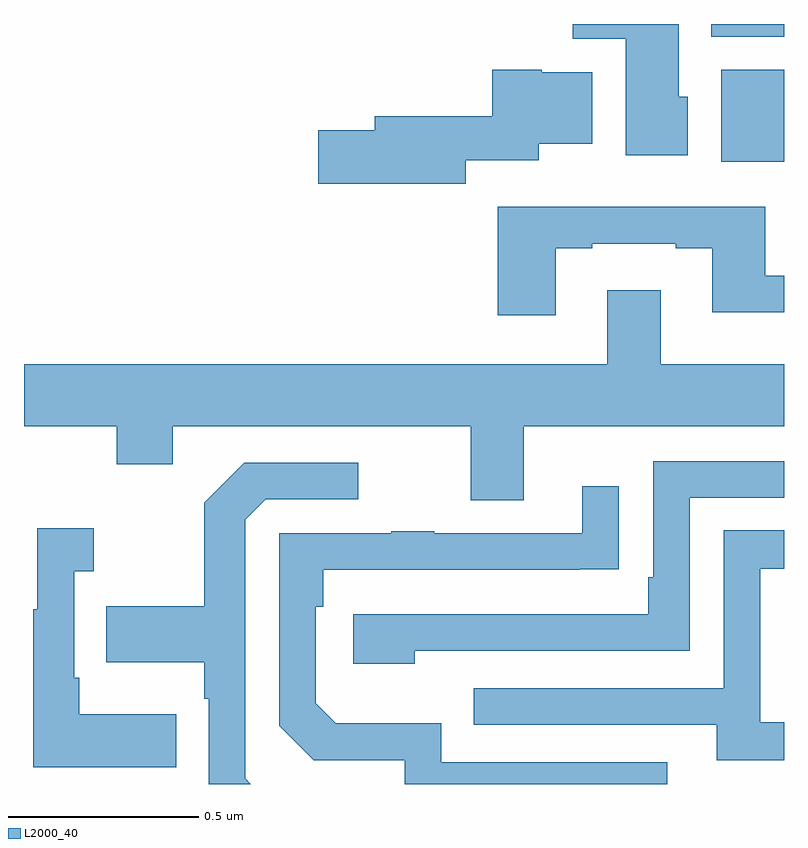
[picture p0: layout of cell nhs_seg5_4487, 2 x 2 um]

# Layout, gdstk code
import gdstk
lib = gdstk.Library(unit=1e-6, precision=1e-09)
def R(c, l, rs):  # rectangles x0, y0, x1, y1
    for r in rs: c.add(gdstk.rectangle(r[:2], r[2:], *l))
def P(c, l, *ps):  # polygons
    for p in ps: c.add(gdstk.Polygon(p, *l))
L2000_40 = (2000, 40)

nhs_seg5_4487 = lib.new_cell('nhs_seg5_4487')
R(nhs_seg5_4487, L2000_40, [(172.835,877.436,173,877.678), (172.808,877.766,173,877.799)])
P(nhs_seg5_4487, L2000_40, [(172.747,877.608),(172.723,877.608),(172.723,877.799),(172.444,877.799),(172.444,877.76),(172.583,877.76),(172.583,877.454),(172.747,877.454)],
  [(172.162,877.44),(172.354,877.44),(172.354,877.484),(172.495,877.484),(172.495,877.672),(172.362,877.672),(172.362,877.678),(172.232,877.678),(172.232,877.556),(171.923,877.556),(171.923,877.52),(171.774,877.52),(171.774,877.378),(172.162,877.378)],
  [(172.399,877.209),(172.495,877.209),(172.495,877.221),(172.715,877.221),(172.715,877.209),(172.811,877.209),(172.811,877.04),(173,877.04),(173,877.137),(172.951,877.137),(172.951,877.318),(172.247,877.318),(172.247,877.032),(172.399,877.032)],
  [(172.315,876.74),(173,876.74),(173,876.904),(172.675,876.904),(172.675,877.099),(172.535,877.099),(172.535,876.904),(171,876.904),(171,876.74),(171.244,876.74),(171.244,876.641),(171.391,876.641),(171.391,876.74),(172.175,876.74),(172.175,876.546),(172.315,876.546)],
  [(172.028,876.15),(172.752,876.15),(172.752,876.552),(173,876.552),(173,876.648),(172.656,876.648),(172.656,876.343),(172.643,876.343),(172.643,876.246),(171.867,876.246),(171.867,876.116),(172.028,876.116)],
  [(171.582,875.814),(171.582,876.495),(171.636,876.549),(171.88,876.549),(171.88,876.645),(171.579,876.645),(171.474,876.539),(171.474,876.267),(171.217,876.267),(171.217,876.119),(171.474,876.119),(171.474,876.023),(171.486,876.023),(171.486,875.799),(171.597,875.799)],
  [(172.693,875.856),(172.098,875.856),(172.098,875.959),(171.821,875.959),(171.768,876.012),(171.768,876.266),(171.788,876.266),(171.788,876.363),(172.463,876.363),(172.463,876.364),(172.565,876.364),(172.565,876.583),(172.469,876.583),(172.469,876.459),(172.079,876.459),(172.079,876.464),(171.967,876.464),(171.967,876.459),(171.672,876.459),(171.672,875.952),(171.762,875.862),(172.002,875.862),(172.002,875.799),(172.693,875.799)],
  [(171.401,875.983),(171.145,875.983),(171.145,876.079),(171.132,876.079),(171.132,876.359),(171.184,876.359),(171.184,876.472),(171.035,876.472),(171.035,876.259),(171.024,876.259),(171.024,875.843),(171.401,875.843)],
  [(173,875.961),(172.938,875.961),(172.938,876.366),(173,876.366),(173,876.467),(172.842,876.467),(172.842,876.051),(172.183,876.051),(172.183,875.955),(172.823,875.955),(172.823,875.861),(173,875.861)])

lib.write_gds('nhs_seg5_4487.gds')
